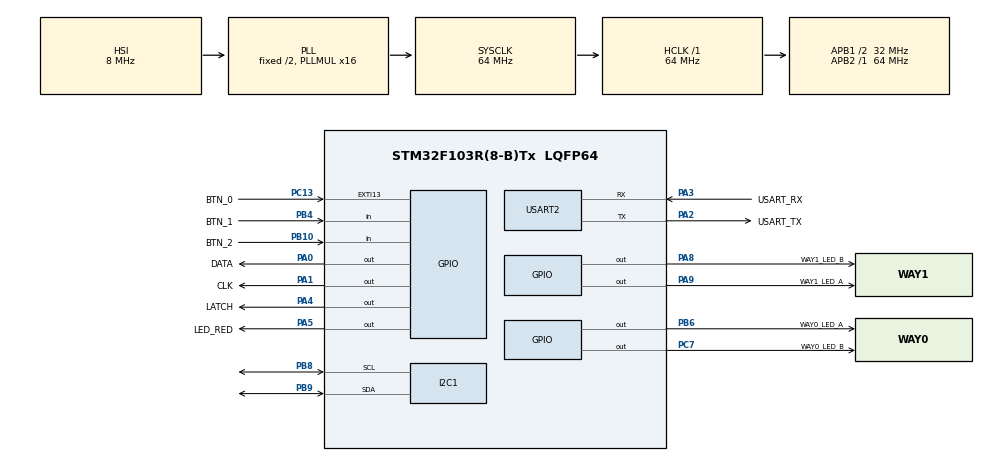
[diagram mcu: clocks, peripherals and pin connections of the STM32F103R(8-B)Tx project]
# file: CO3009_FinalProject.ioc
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IWDG.Prescaler=IWDG_PRESCALER_64
IWDG.Reload=3125
Mcu.Family=STM32F1
Mcu.Name=STM32F103R(8-B)Tx
Mcu.Package=LQFP64
NVIC.EXTI15_10_IRQn=true\:0\:0\:false\:false\:true\:true\:true
NVIC.PriorityGroup=NVIC_PRIORITYGROUP_4
NVIC.TIM2_IRQn=true\:0\:0\:false\:false\:true\:true\:true
PA0-WKUP.GPIO_Label=DATA
PA0-WKUP.Signal=GPIO_Output
PA1.GPIO_Label=CLK
PA1.Signal=GPIO_Output
PA13.GPIO_Label=TMS
PA13.Mode=Serial_Wire
PA13.Signal=SYS_JTMS-SWDIO
PA14.GPIO_Label=TCK
PA14.Mode=Serial_Wire
PA14.Signal=SYS_JTCK-SWCLK
PA2.GPIO_Label=USART_TX
PA2.GPIO_Mode=GPIO_MODE_AF_PP
PA2.GPIO_PuPd=GPIO_NOPULL
PA2.GPIO_Speed=GPIO_SPEED_FREQ_LOW
PA2.Mode=Asynchronous
PA2.Signal=USART2_TX
PA3.GPIO_Label=USART_RX
PA3.GPIO_Mode=GPIO_MODE_AF_PP
PA3.GPIO_PuPd=GPIO_NOPULL
PA3.GPIO_Speed=GPIO_SPEED_FREQ_LOW
PA3.Mode=Asynchronous
PA3.Signal=USART2_RX
PA4.GPIO_Label=LATCH
PA4.Signal=GPIO_Output
PA5.GPIO_Label=LED_RED
PA5.GPIO_ModeDefaultOutputPP=GPIO_MODE_OUTPUT_PP
PA5.GPIO_PuPd=GPIO_NOPULL
PA5.GPIO_Speed=GPIO_SPEED_FREQ_LOW
PA5.Signal=GPIO_Output
PA8.GPIO_Label=WAY1_LED_B
PA8.Signal=GPIO_Output
PA9.GPIO_Label=WAY1_LED_A
PA9.Signal=GPIO_Output
PB10.GPIO_Label=BTN_2
PB10.GPIO_PuPd=GPIO_PULLUP
PB10.Signal=GPIO_Input
PB3.GPIO_Label=SWO
PB3.Signal=SYS_JTDO-TRACESWO
PB4.GPIO_Label=BTN_1
PB4.GPIO_PuPd=GPIO_PULLUP
PB4.Signal=GPIO_Input
PB6.GPIO_Label=WAY0_LED_A
PB6.Signal=GPIO_Output
PB8.Mode=I2C
PB8.Signal=I2C1_SCL
PB9.Mode=I2C
PB9.Signal=I2C1_SDA
PC13-TAMPER-RTC.GPIO_Label=BTN_0
PC13-TAMPER-RTC.GPIO_PuPd=GPIO_PULLUP
PC13-TAMPER-RTC.Signal=GPXTI13
PC14-OSC32_IN.Mode=LSE-External-Oscillator
PC14-OSC32_IN.Signal=RCC_OSC32_IN
PC15-OSC32_OUT.Mode=LSE-External-Oscillator
PC15-OSC32_OUT.Signal=RCC_OSC32_OUT
PC7.GPIO_Label=WAY0_LED_B
PC7.Signal=GPIO_Output
PD0-OSC_IN.Mode=HSE-External-Clock-Source
PD0-OSC_IN.Signal=RCC_OSC_IN
PD1-OSC_OUT.Mode=HSE-External-Clock-Source
PD1-OSC_OUT.Signal=RCC_OSC_OUT
ProjectManager.HeapSize=0x200
ProjectManager.StackSize=0x400
ProjectManager.TargetToolchain=STM32CubeIDE
RCC.AHBFreq_Value=64000000
RCC.APB1CLKDivider=RCC_HCLK_DIV2
RCC.APB1Freq_Value=32000000
RCC.APB1TimFreq_Value=64000000
RCC.APB2Freq_Value=64000000
RCC.APB2TimFreq_Value=64000000
RCC.HCLKFreq_Value=64000000
RCC.PLLMUL=RCC_PLL_MUL16
RCC.RTCClockSelection=RCC_RTCCLKSOURCE_LSE
RCC.SYSCLKFreq_VALUE=64000000
RCC.SYSCLKSource=RCC_SYSCLKSOURCE_PLLCLK
RCC.USBFreq_Value=64000000
TIM2.Period=9
TIM2.Prescaler=63999
USART2.VirtualMode=VM_ASYNC
VP_IWDG_VS_IWDG.Mode=IWDG_Activate
VP_TIM2_VS_ClockSourceINT.Mode=Internal
board=NUCLEO-F103RB

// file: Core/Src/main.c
/* USER CODE BEGIN Header */
/**
  ******************************************************************************
  * @file           : main.c
  * @brief          : Main program body
  ******************************************************************************
  * @attention
  *
  * <h2><center>&copy; Copyright (c) 2024 STMicroelectronics.
  * All rights reserved.</center></h2>
  *
  * This software component is licensed by ST under BSD 3-Clause license,
  * the "License"; You may not use this file except in compliance with the
  * License. You may obtain a copy of the License at:
  *                        opensource.org/licenses/BSD-3-Clause
  *
  ******************************************************************************
  */
/* USER CODE END Header */
#include "main.h"

/* USER CODE BEGIN Includes */
#include "scheduler.h"
#include "led_traffic.h"
#include "software_timer.h"
#include "tasks.h"
#include "traffic_light.h"
#include "i2c-lcd.h"
/* USER CODE END Includes */

I2C_HandleTypeDef hi2c1;

IWDG_HandleTypeDef hiwdg;

TIM_HandleTypeDef htim2;

UART_HandleTypeDef huart2;

void SystemClock_Config(void);
static void MX_GPIO_Init(void);
static void MX_USART2_UART_Init(void);
static void MX_TIM2_Init(void);
static void MX_I2C1_Init(void);
static void MX_IWDG_Init(void);
/* USER CODE BEGIN PFP */
void HAL_TIM_PeriodElapsedCallback(TIM_HandleTypeDef *htim);
/* USER CODE END PFP */

int main(void)
{

  /* MCU Configuration--------------------------------------------------------*/

  /* Reset of all peripherals, Initializes the Flash interface and the Systick. */
  HAL_Init();

  /* Configure the system clock */
  SystemClock_Config();

  /* Initialize all configured peripherals */
  MX_GPIO_Init();
  MX_USART2_UART_Init();
  MX_TIM2_Init();
  MX_I2C1_Init();
  MX_IWDG_Init();
  /* USER CODE BEGIN 2 */
  HAL_IWDG_Init(&hiwdg);
  HAL_TIM_Base_Start_IT(&htim2);
  lcd_init();

  SCH_Init();
  SCH_Add_Task(t_blinkyLED, msToTick(100), msToTick(1000));
  SCH_Add_Task(t_get3ButtonInput, msToTick(103), msToTick(20));
  SCH_Add_Task(timerRun, msToTick(101), 1);

  SCH_Add_Task(fsm_traffic_light, msToTick(105), msToTick(50));
  SCH_Add_Task(LCD_Display, msToTick(109), msToTick(50));
  /* USER CODE END 2 */

  /* Infinite loop */
  /* USER CODE BEGIN WHILE */
  while (1)
  {
	 HAL_IWDG_Refresh(&hiwdg);
	 SCH_Dispatch_Tasks();
    /* USER CODE END WHILE */

  }
}

void SystemClock_Config(void)
{
  RCC_OscInitTypeDef RCC_OscInitStruct = {0};
  RCC_ClkInitTypeDef RCC_ClkInitStruct = {0};

  /** Initializes the RCC Oscillators according to the specified parameters
  * in the RCC_OscInitTypeDef structure.
  */
  RCC_OscInitStruct.OscillatorType = RCC_OSCILLATORTYPE_HSI|RCC_OSCILLATORTYPE_LSI;
  RCC_OscInitStruct.HSIState = RCC_HSI_ON;
  RCC_OscInitStruct.HSICalibrationValue = RCC_HSICALIBRATION_DEFAULT;
  RCC_OscInitStruct.LSIState = RCC_LSI_ON;
  RCC_OscInitStruct.PLL.PLLState = RCC_PLL_ON;
  RCC_OscInitStruct.PLL.PLLSource = RCC_PLLSOURCE_HSI_DIV2;
  RCC_OscInitStruct.PLL.PLLMUL = RCC_PLL_MUL16;
  if (HAL_RCC_OscConfig(&RCC_OscInitStruct) != HAL_OK)
  {
    Error_Handler();
  }
  /** Initializes the CPU, AHB and APB buses clocks
  */
  RCC_ClkInitStruct.ClockType = RCC_CLOCKTYPE_HCLK|RCC_CLOCKTYPE_SYSCLK
                              |RCC_CLOCKTYPE_PCLK1|RCC_CLOCKTYPE_PCLK2;
  RCC_ClkInitStruct.SYSCLKSource = RCC_SYSCLKSOURCE_PLLCLK;
  RCC_ClkInitStruct.AHBCLKDivider = RCC_SYSCLK_DIV1;
  RCC_ClkInitStruct.APB1CLKDivider = RCC_HCLK_DIV2;
  RCC_ClkInitStruct.APB2CLKDivider = RCC_HCLK_DIV1;

  if (HAL_RCC_ClockConfig(&RCC_ClkInitStruct, FLASH_LATENCY_2) != HAL_OK)
  {
    Error_Handler();
  }
}

static void MX_I2C1_Init(void)
{

  hi2c1.Instance = I2C1;
  hi2c1.Init.ClockSpeed = 100000;
  hi2c1.Init.DutyCycle = I2C_DUTYCYCLE_2;
  hi2c1.Init.OwnAddress1 = 0;
  hi2c1.Init.AddressingMode = I2C_ADDRESSINGMODE_7BIT;
  hi2c1.Init.DualAddressMode = I2C_DUALADDRESS_DISABLE;
  hi2c1.Init.OwnAddress2 = 0;
  hi2c1.Init.GeneralCallMode = I2C_GENERALCALL_DISABLE;
  hi2c1.Init.NoStretchMode = I2C_NOSTRETCH_DISABLE;
  if (HAL_I2C_Init(&hi2c1) != HAL_OK)
  {
    Error_Handler();
  }

}

static void MX_IWDG_Init(void)
{

  hiwdg.Instance = IWDG;
  hiwdg.Init.Prescaler = IWDG_PRESCALER_64;
  hiwdg.Init.Reload = 3125;
  if (HAL_IWDG_Init(&hiwdg) != HAL_OK)
  {
    Error_Handler();
  }

}

static void MX_TIM2_Init(void)
{

  TIM_ClockConfigTypeDef sClockSourceConfig = {0};
  TIM_MasterConfigTypeDef sMasterConfig = {0};

  htim2.Instance = TIM2;
  htim2.Init.Prescaler = 63999;
  htim2.Init.CounterMode = TIM_COUNTERMODE_UP;
  htim2.Init.Period = 9;
  htim2.Init.ClockDivision = TIM_CLOCKDIVISION_DIV1;
  htim2.Init.AutoReloadPreload = TIM_AUTORELOAD_PRELOAD_DISABLE;
  if (HAL_TIM_Base_Init(&htim2) != HAL_OK)
  {
    Error_Handler();
  }
  sClockSourceConfig.ClockSource = TIM_CLOCKSOURCE_INTERNAL;
  if (HAL_TIM_ConfigClockSource(&htim2, &sClockSourceConfig) != HAL_OK)
  {
    Error_Handler();
  }
  sMasterConfig.MasterOutputTrigger = TIM_TRGO_RESET;
  sMasterConfig.MasterSlaveMode = TIM_MASTERSLAVEMODE_DISABLE;
  if (HAL_TIMEx_MasterConfigSynchronization(&htim2, &sMasterConfig) != HAL_OK)
  {
    Error_Handler();
  }

}

static void MX_USART2_UART_Init(void)
{

  huart2.Instance = USART2;
  huart2.Init.BaudRate = 115200;
  huart2.Init.WordLength = UART_WORDLENGTH_8B;
  huart2.Init.StopBits = UART_STOPBITS_1;
  huart2.Init.Parity = UART_PARITY_NONE;
  huart2.Init.Mode = UART_MODE_TX_RX;
  huart2.Init.HwFlowCtl = UART_HWCONTROL_NONE;
  huart2.Init.OverSampling = UART_OVERSAMPLING_16;
  if (HAL_UART_Init(&huart2) != HAL_OK)
  {
    Error_Handler();
  }

}

static void MX_GPIO_Init(void)
{
  GPIO_InitTypeDef GPIO_InitStruct = {0};

  /* GPIO Ports Clock Enable */
  __HAL_RCC_GPIOC_CLK_ENABLE();
  __HAL_RCC_GPIOD_CLK_ENABLE();
  __HAL_RCC_GPIOA_CLK_ENABLE();
  __HAL_RCC_GPIOB_CLK_ENABLE();

  /*Configure GPIO pin Output Level */
  HAL_GPIO_WritePin(GPIOA, DATA_Pin|CLK_Pin|LATCH_Pin|LED_RED_Pin
                          |WAY1_LED_B_Pin|WAY1_LED_A_Pin, GPIO_PIN_RESET);

  /*Configure GPIO pin Output Level */
  HAL_GPIO_WritePin(WAY0_LED_B_GPIO_Port, WAY0_LED_B_Pin, GPIO_PIN_RESET);

  /*Configure GPIO pin Output Level */
  HAL_GPIO_WritePin(WAY0_LED_A_GPIO_Port, WAY0_LED_A_Pin, GPIO_PIN_RESET);

  /*Configure GPIO pin : BTN_0_Pin */
  GPIO_InitStruct.Pin = BTN_0_Pin;
  GPIO_InitStruct.Mode = GPIO_MODE_IT_RISING;
  GPIO_InitStruct.Pull = GPIO_PULLUP;
  HAL_GPIO_Init(BTN_0_GPIO_Port, &GPIO_InitStruct);

  /*Configure GPIO pins : DATA_Pin CLK_Pin LATCH_Pin LED_RED_Pin
                           WAY1_LED_B_Pin WAY1_LED_A_Pin */
  GPIO_InitStruct.Pin = DATA_Pin|CLK_Pin|LATCH_Pin|LED_RED_Pin
                          |WAY1_LED_B_Pin|WAY1_LED_A_Pin;
  GPIO_InitStruct.Mode = GPIO_MODE_OUTPUT_PP;
  GPIO_InitStruct.Pull = GPIO_NOPULL;
  GPIO_InitStruct.Speed = GPIO_SPEED_FREQ_LOW;
  HAL_GPIO_Init(GPIOA, &GPIO_InitStruct);

  /*Configure GPIO pins : BTN_2_Pin BTN_1_Pin */
  GPIO_InitStruct.Pin = BTN_2_Pin|BTN_1_Pin;
  GPIO_InitStruct.Mode = GPIO_MODE_INPUT;
  GPIO_InitStruct.Pull = GPIO_PULLUP;
  HAL_GPIO_Init(GPIOB, &GPIO_InitStruct);

  /*Configure GPIO pin : WAY0_LED_B_Pin */
  GPIO_InitStruct.Pin = WAY0_LED_B_Pin;
  GPIO_InitStruct.Mode = GPIO_MODE_OUTPUT_PP;
  GPIO_InitStruct.Pull = GPIO_NOPULL;
  GPIO_InitStruct.Speed = GPIO_SPEED_FREQ_LOW;
  HAL_GPIO_Init(WAY0_LED_B_GPIO_Port, &GPIO_InitStruct);

  /*Configure GPIO pin : WAY0_LED_A_Pin */
  GPIO_InitStruct.Pin = WAY0_LED_A_Pin;
  GPIO_InitStruct.Mode = GPIO_MODE_OUTPUT_PP;
  GPIO_InitStruct.Pull = GPIO_NOPULL;
  GPIO_InitStruct.Speed = GPIO_SPEED_FREQ_LOW;
  HAL_GPIO_Init(WAY0_LED_A_GPIO_Port, &GPIO_InitStruct);

  /* EXTI interrupt init*/
  HAL_NVIC_SetPriority(EXTI15_10_IRQn, 0, 0);
  HAL_NVIC_EnableIRQ(EXTI15_10_IRQn);

}

/* USER CODE BEGIN 4 */
void HAL_TIM_PeriodElapsedCallback(TIM_HandleTypeDef *htim)
{
	SCH_Update();
}
/* USER CODE END 4 */

void Error_Handler(void)
{
  __disable_irq();
  while (1)
  {
  }
}

/************************ (C) COPYRIGHT STMicroelectronics *****END OF FILE****/
